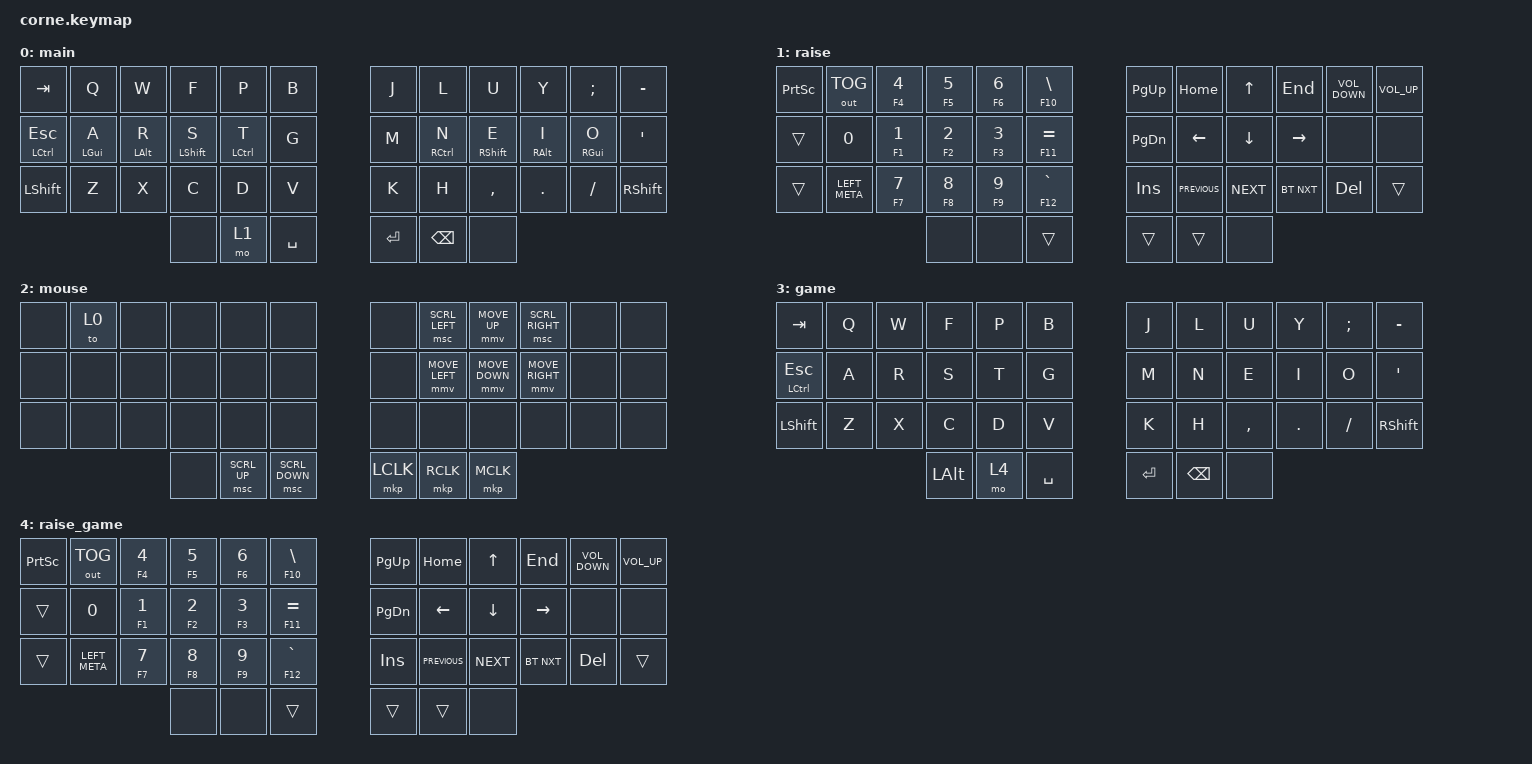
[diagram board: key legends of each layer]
/*
 * Copyright (c) 2020 The ZMK Contributors
 *
 * SPDX-License-Identifier: MIT
 */

#include <behaviors.dtsi>
#include <dt-bindings/zmk/bt.h>
#include <dt-bindings/zmk/keys.h>
#include <dt-bindings/zmk/outputs.h>
#include <dt-bindings/zmk/pointing.h>

/ {
    behaviors {
        bhm_l: balanced_homerow_mods_l {
            compatible = "zmk,behavior-hold-tap";
            flavor = "balanced";
            tapping-term-ms = <280>;
            #binding-cells = <2>;
            quick-tap-ms = <175>;                // repeat on tap-into-hold
            require-prior-idle-ms = <150>;
            bindings = <&kp>, <&kp>;

            hold-trigger-on-release;             // delay positional check until key-release
            hold-trigger-key-positions = <34 33 32 31 19 20 21 22 10 9 8 7 6 18 30 35 23 11 41 40 39>;
        };

        bhm_r: balanced_homerow_mods_r {
            compatible = "zmk,behavior-hold-tap";
            flavor = "balanced";
            tapping-term-ms = <280>;
            #binding-cells = <2>;
            quick-tap-ms = <175>;
            require-prior-idle-ms = <150>;
            bindings = <&kp>, <&kp>;

            hold-trigger-on-release;
            hold-trigger-key-positions = <13 14 15 16 1 2 3 4 28 27 29 17 5 26 25 36 37 38 24 12 0>;
        };
    };

    combos {
        compatible = "zmk,combos";

        cw {
            bindings = <&caps_word>;
            key-positions = <5 6>;
            layers = <0>;
        };

        left_brace {
            bindings = <&kp LEFT_BRACKET>;
            key-positions = <3 4>;
            layers = <0>;
        };

        right_brace {
            bindings = <&kp RIGHT_BRACKET>;
            key-positions = <7 8>;
            layers = <0>;
        };

        left_paren {
            bindings = <&kp LEFT_PARENTHESIS>;
            key-positions = <2 3>;
            layers = <0>;
        };

        right_paren {
            bindings = <&kp RIGHT_PARENTHESIS>;
            key-positions = <8 9>;
            layers = <0>;
        };

        bt_clear {
            bindings = <&bt BT_CLR>;
            key-positions = <30 33>;
            layers = <1>;
        };

        play_pause {
            bindings = <&kp K_PLAY_PAUSE>;
            key-positions = <32 31>;
            layers = <1>;
        };

        mute {
            bindings = <&kp K_MUTE>;
            key-positions = <10 11>;
            layers = <1>;
        };

        mouse {
            bindings = <&to 2>;
            key-positions = <16 15 19 20>;
            layers = <0>;
        };

        game {
            bindings = <&to 3>;
            key-positions = <1 2 3 4 7 8 9 10>;
            layers = <0>;
        };

        exit-game {
            bindings = <&to 0>;
            key-positions = <7 8 9 10 4 3 2 1>;
            layers = <3>;
        };
    };

    keymap {
        compatible = "zmk,keymap";

        main {
            bindings = <
&kp TAB           &kp Q              &kp W              &kp F                &kp P                  &kp B        &kp J      &kp L           &kp U                 &kp Y               &kp SEMI            &kp MINUS
&mt LCTRL ESCAPE  &bhm_l LEFT_GUI A  &bhm_l LEFT_ALT R  &bhm_l LEFT_SHIFT S  &bhm_l LEFT_CONTROL T  &kp G        &kp M      &bhm_r RCTRL N  &bhm_r RIGHT_SHIFT E  &bhm_r RIGHT_ALT I  &bhm_r RIGHT_GUI O  &kp APOS
&kp LSHIFT        &kp Z              &kp X              &kp C                &kp D                  &kp V        &kp K      &kp H           &kp COMMA             &kp DOT             &kp FSLH            &kp RSHIFT
                                                        &none                &mo 1                  &kp SPACE    &kp ENTER  &kp BACKSPACE   &none
            >;
        };

        raise {
            bindings = <
&kp PRINTSCREEN  &out OUT_TOG   &mt F4 NUMBER_4  &mt F5 NUMBER_5  &mt F6 NUMBER_6  &mt F10 BACKSLASH    &kp PAGE_UP    &kp HOME        &kp UP      &kp END     &kp C_VOLUME_DOWN  &kp C_VOLUME_UP
&trans           &kp N0         &mt F1 NUMBER_1  &mt F2 NUMBER_2  &mt F3 NUMBER_3  &mt F11 EQUAL        &kp PAGE_DOWN  &kp LEFT        &kp DOWN    &kp RIGHT   &none              &none
&trans           &kp LEFT_META  &mt F7 NUMBER_7  &mt F8 NUMBER_8  &mt F9 NUMBER_9  &mt F12 GRAVE        &kp INSERT     &kp C_PREVIOUS  &kp C_NEXT  &bt BT_NXT  &kp DELETE         &trans
                                                 &none            &none            &trans               &trans         &trans          &none
            >;
        };

        mouse {
            bindings = <
&none  &to 0  &none  &none  &none         &none             &none      &msc SCRL_LEFT  &mmv MOVE_UP    &msc SCRL_RIGHT  &none  &none
&none  &none  &none  &none  &none         &none             &none      &mmv MOVE_LEFT  &mmv MOVE_DOWN  &mmv MOVE_RIGHT  &none  &none
&none  &none  &none  &none  &none         &none             &none      &none           &none           &none            &none  &none
                     &none  &msc SCRL_UP  &msc SCRL_DOWN    &mkp LCLK  &mkp RCLK       &mkp MCLK
            >;
        };

        game {
            bindings = <
&kp TAB           &kp Q  &kp W  &kp F         &kp P  &kp B        &kp J      &kp L          &kp U      &kp Y    &kp SEMI  &kp MINUS
&mt LCTRL ESCAPE  &kp A  &kp R  &kp S         &kp T  &kp G        &kp M      &kp N          &kp E      &kp I    &kp O     &kp APOS
&kp LSHIFT        &kp Z  &kp X  &kp C         &kp D  &kp V        &kp K      &kp H          &kp COMMA  &kp DOT  &kp FSLH  &kp RSHIFT
                                &kp LEFT_ALT  &mo 4  &kp SPACE    &kp ENTER  &kp BACKSPACE  &none
            >;
        };

        raise_game {
            bindings = <
&kp PRINTSCREEN  &out OUT_TOG   &mt F4 NUMBER_4  &mt F5 NUMBER_5  &mt F6 NUMBER_6  &mt F10 BACKSLASH    &kp PAGE_UP    &kp HOME        &kp UP      &kp END     &kp C_VOLUME_DOWN  &kp C_VOLUME_UP
&trans           &kp N0         &mt F1 NUMBER_1  &mt F2 NUMBER_2  &mt F3 NUMBER_3  &mt F11 EQUAL        &kp PAGE_DOWN  &kp LEFT        &kp DOWN    &kp RIGHT   &none              &none
&trans           &kp LEFT_META  &mt F7 NUMBER_7  &mt F8 NUMBER_8  &mt F9 NUMBER_9  &mt F12 GRAVE        &kp INSERT     &kp C_PREVIOUS  &kp C_NEXT  &bt BT_NXT  &kp DELETE         &trans
                                                 &none            &none            &trans               &trans         &trans          &none
            >;
        };
    };
};
